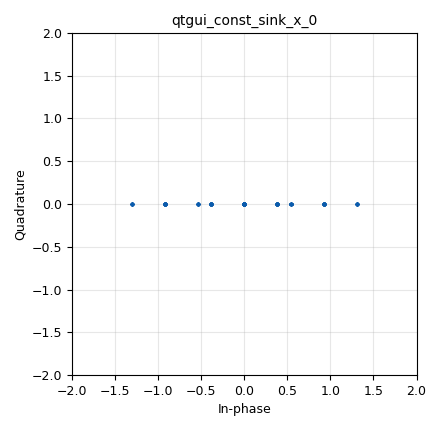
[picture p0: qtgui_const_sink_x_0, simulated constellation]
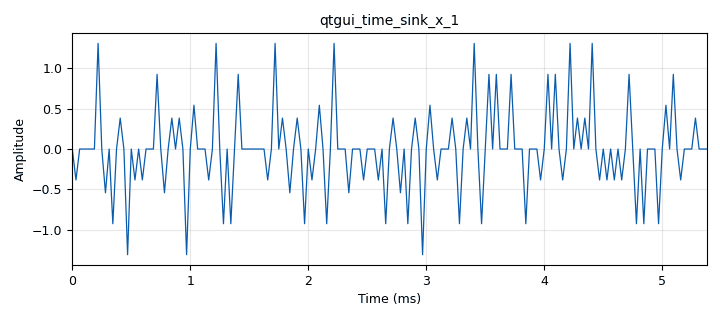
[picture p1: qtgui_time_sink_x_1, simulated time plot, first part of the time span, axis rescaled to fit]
options:
  parameters:
    author: Mangal
    generate_options: qt_gui
    id: qpsk_stage_1
    output_language: python
    title: Not titled yet
  states: {}

blocks:
- name: samp_rate
  id: variable
  parameters:
    value: '32000'
  states: {}
- name: analog_random_source_x_0
  id: analog_random_source_x
  parameters:
    max: '4'
    min: '0'
    num_samps: '5000'
    repeat: 'True'
    type: byte
  states: {}
- name: analog_sig_source_x_0
  id: analog_sig_source_x
  parameters:
    amp: '1'
    freq: '10000'
    offset: '0'
    phase: '0'
    samp_rate: samp_rate
    type: float
    waveform: analog.GR_COS_WAVE
  states: {}
- name: analog_sig_source_x_1
  id: analog_sig_source_x
  parameters:
    amp: '1'
    freq: '10000'
    offset: '0'
    phase: '0'
    samp_rate: samp_rate
    type: float
    waveform: analog.GR_SIN_WAVE
  states: {}
- name: blocks_add_xx_0
  id: blocks_add_xx
  parameters:
    type: float
  states: {}
- name: blocks_float_to_complex_0
  id: blocks_float_to_complex
  parameters: {}
  states: {}
- name: blocks_multiply_xx_0
  id: blocks_multiply_xx
  parameters:
    type: float
  states: {}
- name: blocks_multiply_xx_1
  id: blocks_multiply_xx
  parameters:
    type: float
  states: {}
- name: blocks_stream_demux_0
  id: blocks_stream_demux
  parameters:
    lengths: (1, 1)
    type: byte
  states: {}
- name: blocks_uchar_to_float_0
  id: blocks_uchar_to_float
  parameters: {}
  states: {}
- name: blocks_uchar_to_float_1
  id: blocks_uchar_to_float
  parameters: {}
  states: {}
- name: blocks_unpack_k_bits_bb_0
  id: blocks_unpack_k_bits_bb
  parameters:
    k: '4'
  states: {}
- name: qtgui_const_sink_x_0
  id: qtgui_const_sink_x
  parameters:
    size: '1024'
    type: complex
  states: {}
- name: qtgui_number_sink_0
  id: qtgui_number_sink
  parameters:
    graph_type: qtgui.NUM_GRAPH_HORIZ
    max: '3'
    min: '0'
    type: byte
  states: {}
- name: qtgui_time_sink_x_1
  id: qtgui_time_sink_x
  parameters:
    ctrlpanel: 'True'
    size: '1024'
    srate: samp_rate
    type: float
  states: {}

connections:
- [analog_random_source_x_0, '0', blocks_unpack_k_bits_bb_0, '0']
- [analog_random_source_x_0, '0', qtgui_number_sink_0, '0']
- [analog_sig_source_x_0, '0', blocks_multiply_xx_0, '0']
- [analog_sig_source_x_1, '0', blocks_multiply_xx_1, '1']
- [blocks_add_xx_0, '0', blocks_float_to_complex_0, '0']
- [blocks_add_xx_0, '0', qtgui_time_sink_x_1, '0']
- [blocks_float_to_complex_0, '0', qtgui_const_sink_x_0, '0']
- [blocks_multiply_xx_0, '0', blocks_add_xx_0, '0']
- [blocks_multiply_xx_1, '0', blocks_add_xx_0, '1']
- [blocks_stream_demux_0, '0', blocks_uchar_to_float_0, '0']
- [blocks_stream_demux_0, '1', blocks_uchar_to_float_1, '0']
- [blocks_uchar_to_float_0, '0', blocks_multiply_xx_0, '1']
- [blocks_uchar_to_float_1, '0', blocks_multiply_xx_1, '0']
- [blocks_unpack_k_bits_bb_0, '0', blocks_stream_demux_0, '0']

metadata:
  file_format: 1
  grc_version: 3.10.9.2
